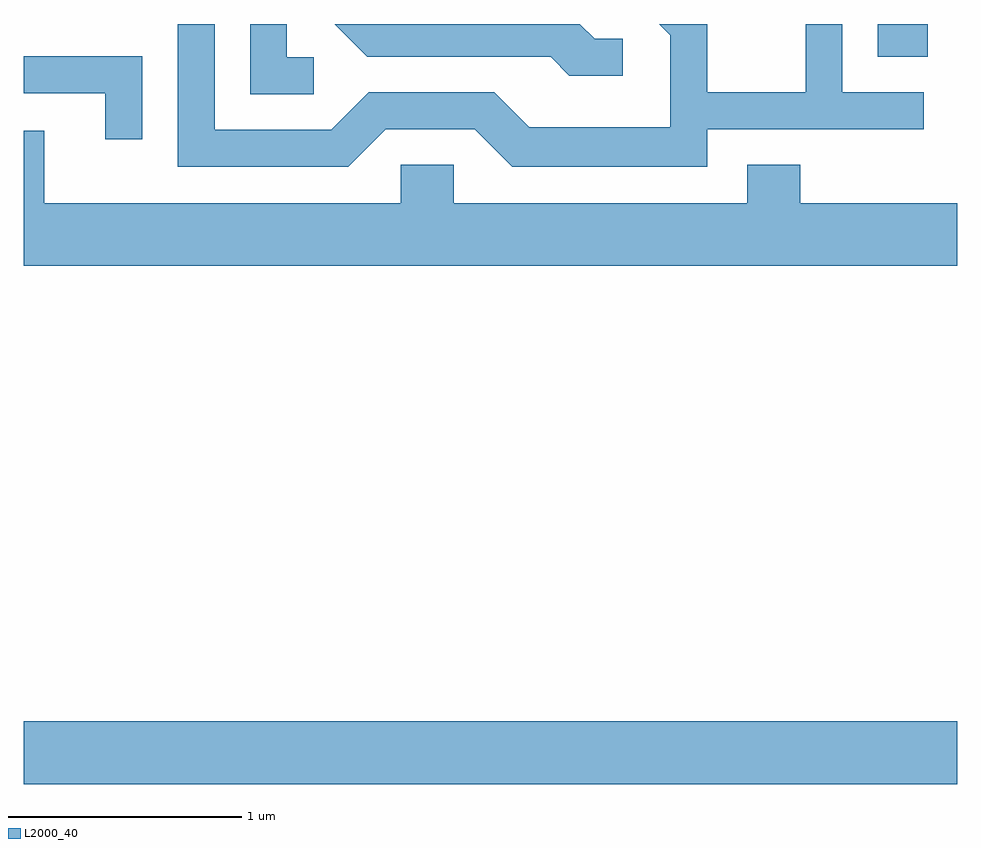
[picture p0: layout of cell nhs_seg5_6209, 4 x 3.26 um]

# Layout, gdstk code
import gdstk
lib = gdstk.Library(unit=1e-6, precision=1e-09)
def R(c, l, rs):  # rectangles x0, y0, x1, y1
    for r in rs: c.add(gdstk.rectangle(r[:2], r[2:], *l))
def P(c, l, *ps):  # polygons
    for p in ps: c.add(gdstk.Polygon(p, *l))
L2000_40 = (2000, 40)

nhs_seg5_6209 = lib.new_cell('nhs_seg5_6209')
R(nhs_seg5_6209, L2000_40, [(369.611,1436.816,373.611,1437.084), (373.271,1439.931,373.484,1440.072)])
P(nhs_seg5_6209, L2000_40, [(371.162,1439.621),(371.544,1439.621),(371.704,1439.461),(372.539,1439.461),(372.539,1439.621),(373.468,1439.621),(373.468,1439.779),(373.119,1439.779),(373.119,1440.072),(372.961,1440.072),(372.961,1439.779),(372.539,1439.779),(372.539,1440.072),(372.333,1440.072),(372.381,1440.024),(372.381,1439.629),(371.777,1439.629),(371.627,1439.779),(371.089,1439.779),(370.929,1439.619),(370.429,1439.619),(370.429,1440.072),(370.271,1440.072),(370.271,1439.461),(371.002,1439.461)],
  [(372.178,1440.009),(372.057,1440.009),(371.994,1440.072),(370.943,1440.072),(371.084,1439.931),(371.869,1439.931),(371.949,1439.851),(372.178,1439.851)],
  [(370.853,1439.929),(370.739,1439.929),(370.739,1440.072),(370.581,1440.072),(370.581,1439.771),(370.853,1439.771)],
  [(370.119,1439.934),(369.611,1439.934),(369.611,1439.776),(369.961,1439.776),(369.961,1439.578),(370.119,1439.578)],
  [(373.611,1439.304),(372.939,1439.304),(372.939,1439.469),(372.711,1439.469),(372.711,1439.304),(371.454,1439.304),(371.454,1439.469),(371.226,1439.469),(371.226,1439.304),(369.699,1439.304),(369.699,1439.614),(369.611,1439.614),(369.611,1439.036),(373.611,1439.036)])

lib.write_gds('nhs_seg5_6209.gds')
